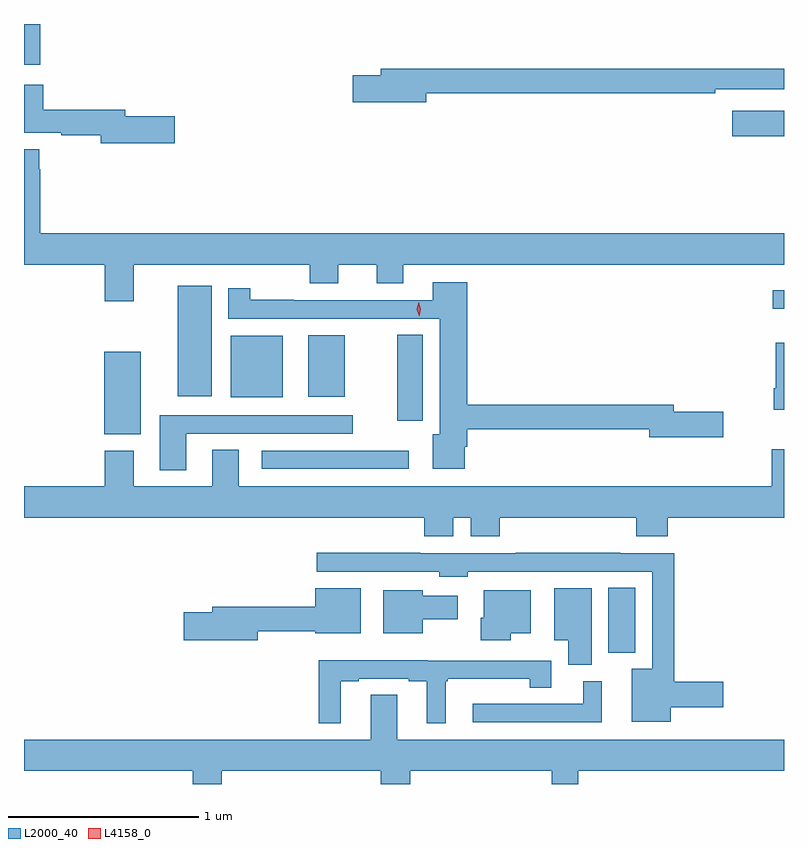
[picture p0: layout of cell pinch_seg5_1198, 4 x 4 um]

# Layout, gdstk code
import gdstk
lib = gdstk.Library(unit=1e-6, precision=1e-09)
def R(c, l, rs):  # rectangles x0, y0, x1, y1
    for r in rs: c.add(gdstk.rectangle(r[:2], r[2:], *l))
def P(c, l, *ps):  # polygons
    for p in ps: c.add(gdstk.Polygon(p, *l))
L2000_40 = (2000, 40)
L4158_0 = (4158, 0)

pinch_seg5_1198 = lib.new_cell('pinch_seg5_1198')
R(pinch_seg5_1198, L2000_40, [(456.836,909.329,456.979,909.671), (455.013,910.296,455.785,910.392), (454.184,910.478,454.375,910.912), (455.726,910.551,455.86,911.003), (454.85,910.673,455.122,910.996), (455.258,910.676,455.449,910.999), (454.571,910.679,454.75,911.26), (457.701,911.139,457.761,911.236), (457.488,912.047,457.761,912.181), (453.761,912.423,453.847,912.638)])
P(pinch_seg5_1198, L2000_40, [(455.878,912.274),(457.4,912.274),(457.4,912.294),(457.761,912.294),(457.761,912.403),(455.639,912.403),(455.639,912.369),(455.49,912.369),(455.49,912.227),(455.878,912.227)],
  [(454.555,912.152),(454.294,912.152),(454.294,912.188),(453.862,912.188),(453.862,912.319),(453.761,912.319),(453.761,912.065),(453.958,912.065),(453.958,912.052),(454.166,912.052),(454.166,912.01),(454.555,912.01)],
  [(454.339,911.372),(455.264,911.372),(455.264,911.273),(455.416,911.273),(455.416,911.372),(455.618,911.372),(455.618,911.273),(455.758,911.273),(455.758,911.372),(457.761,911.372),(457.761,911.536),(453.847,911.536),(453.847,911.873),(453.84,911.873),(453.84,911.98),(453.761,911.98),(453.761,911.372),(454.187,911.372),(454.187,911.178),(454.339,911.178)],
  [(456.082,910.412),(456.095,910.412),(456.095,910.506),(457.052,910.506),(457.052,910.463),(457.441,910.463),(457.441,910.598),(457.18,910.598),(457.18,910.634),(456.095,910.634),(456.095,911.278),(455.912,911.278),(455.912,911.184),(455.18,911.184),(455.18,911.186),(454.953,911.186),(454.953,911.248),(454.835,911.248),(454.835,911.088),(455.948,911.088),(455.948,910.48),(455.912,910.48),(455.912,910.298),(456.082,910.298)],
  [(457.761,910.96),(457.718,910.96),(457.718,910.72),(457.706,910.72),(457.706,910.608),(457.761,910.608)],
  [(454.615,910.482),(455.491,910.482),(455.491,910.578),(454.475,910.578),(454.475,910.29),(454.615,910.29)],
  [(456.019,910.04),(456.113,910.04),(456.113,909.941),(456.266,909.941),(456.266,910.04),(456.983,910.04),(456.983,909.941),(457.148,909.941),(457.148,910.04),(457.761,910.04),(457.761,910.399),(457.697,910.399),(457.697,910.204),(454.891,910.204),(454.891,910.397),(454.751,910.397),(454.751,910.204),(454.339,910.204),(454.339,910.393),(454.187,910.393),(454.187,910.204),(453.761,910.204),(453.761,910.04),(455.867,910.04),(455.867,909.941),(456.019,909.941)],
  [(457.165,909.041),(457.441,909.041),(457.441,909.176),(457.184,909.176),(457.184,909.852),(456.899,909.852),(456.899,909.854),(456.349,909.854),(456.349,909.852),(455.846,909.852),(455.846,909.854),(455.301,909.854),(455.301,909.756),(455.946,909.756),(455.946,909.728),(456.096,909.728),(456.096,909.756),(457.068,909.756),(457.068,909.244),(456.959,909.244),(456.959,908.966),(457.165,908.966)],
  [(454.99,909.442),(455.294,909.442),(455.294,909.431),(455.533,909.431),(455.533,909.667),(455.294,909.667),(455.294,909.571),(454.751,909.571),(454.751,909.542),(454.602,909.542),(454.602,909.395),(454.99,909.395)],
  [(456.748,909.667),(456.551,909.667),(456.551,909.395),(456.626,909.395),(456.626,909.265),(456.748,909.265)],
  [(455.86,909.506),(456.043,909.506),(456.043,909.628),(455.86,909.628),(455.86,909.658),(455.651,909.658),(455.651,909.431),(455.86,909.431)],
  [(456.322,909.431),(456.427,909.431),(456.427,909.658),(456.182,909.658),(456.182,909.513),(456.164,909.513),(456.164,909.395),(456.322,909.395)],
  [(455.428,909.18),(455.524,909.18),(455.524,909.192),(455.786,909.192),(455.786,909.18),(455.882,909.18),(455.882,908.957),(455.98,908.957),(455.98,909.18),(455.992,909.18),(455.992,909.191),(456.422,909.191),(456.422,909.145),(456.535,909.145),(456.535,909.288),(455.886,909.288),(455.886,909.289),(455.311,909.289),(455.311,908.957),(455.428,908.957)],
  [(456.802,909.18),(456.704,909.18),(456.704,909.06),(456.123,909.06),(456.123,908.964),(456.802,908.964)],
  [(454.803,908.708),(455.638,908.708),(455.638,908.638),(455.793,908.638),(455.793,908.708),(456.539,908.708),(456.539,908.638),(456.679,908.638),(456.679,908.708),(457.761,908.708),(457.761,908.872),(455.725,908.872),(455.725,909.107),(455.585,909.107),(455.585,908.872),(453.761,908.872),(453.761,908.708),(454.648,908.708),(454.648,908.638),(454.803,908.638)])
P(pinch_seg5_1198, L4158_0, [(455.84,911.101),(455.84,911.101),(455.829,911.137),(455.838,911.173),(455.838,911.173),(455.839,911.173),(455.849,911.137),(455.84,911.101)])

lib.write_gds('pinch_seg5_1198.gds')
